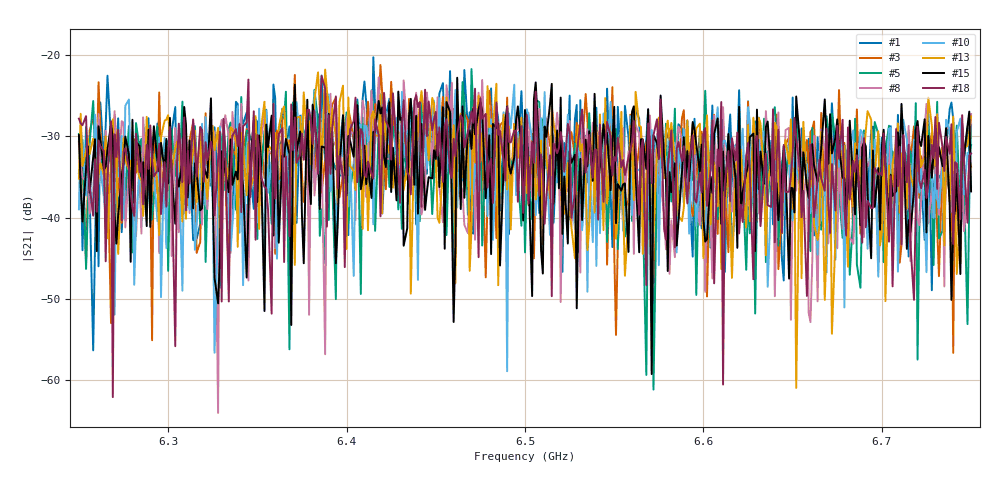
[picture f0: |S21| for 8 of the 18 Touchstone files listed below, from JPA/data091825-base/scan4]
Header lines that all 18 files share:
# Hz S RI R 50
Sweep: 6.25 GHz to 6.75 GHz
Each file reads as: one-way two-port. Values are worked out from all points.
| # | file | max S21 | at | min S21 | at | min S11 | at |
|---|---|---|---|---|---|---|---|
| 1 | trace80.s2p | -20.30 dB | 6.415 GHz | -56.3 dB | 6.258 GHz | -3.5 dB | 6.634 GHz |
| 2 | trace81.s2p | -20.34 dB | 6.44 GHz | -59.9 dB | 6.746 GHz | -4.5 dB | 6.488 GHz |
| 3 | trace82.s2p | -21.25 dB | 6.419 GHz | -56.6 dB | 6.74 GHz | -3.6 dB | 6.662 GHz |
| 4 | trace83.s2p | -23.46 dB | 6.386 GHz | -61.0 dB | 6.63 GHz | -3.8 dB | 6.652 GHz |
| 5 | trace84.s2p | -21.76 dB | 6.47 GHz | -61.1 dB | 6.572 GHz | -10.9 dB | 6.488 GHz |
| 6 | trace85.s2p | -22.09 dB | 6.449 GHz | -61.2 dB | 6.604 GHz | -6.6 dB | 6.488 GHz |
| 7 | trace86.s2p | -23.06 dB | 6.421 GHz | -54.4 dB | 6.581 GHz | -4.0 dB | 6.66 GHz |
| 8 | trace87.s2p | -22.76 dB | 6.418 GHz | -64.0 dB | 6.328 GHz | -14.6 dB | 6.488 GHz |
| 9 | trace88.s2p | -20.59 dB | 6.396 GHz | -65.9 dB | 6.592 GHz | -3.9 dB | 6.738 GHz |
| 10 | trace91.s2p | -23.68 dB | 6.494 GHz | -58.9 dB | 6.49 GHz | -3.1 dB | 6.684 GHz |
| 11 | trace92.s2p | -23.41 dB | 6.462 GHz | -59.1 dB | 6.285 GHz | -12.6 dB | 6.488 GHz |
| 12 | trace93.s2p | -23.29 dB | 6.399 GHz | -58.0 dB | 6.344 GHz | -3.5 dB | 6.648 GHz |
| 13 | trace94.s2p | -21.82 dB | 6.388 GHz | -60.9 dB | 6.652 GHz | -3.9 dB | 6.648 GHz |
| 14 | trace95.s2p | -21.09 dB | 6.446 GHz | -56.5 dB | 6.591 GHz | -3.7 dB | 6.655 GHz |
| 15 | trace96.s2p | -22.82 dB | 6.462 GHz | -59.2 dB | 6.571 GHz | -17.8 dB | 6.488 GHz |
| 16 | trace97.s2p | -22.53 dB | 6.501 GHz | -59.6 dB | 6.279 GHz | -3.6 dB | 6.661 GHz |
| 17 | trace98.s2p | -23.81 dB | 6.409 GHz | -58.6 dB | 6.37 GHz | -3.6 dB | 6.672 GHz |
| 18 | trace99.s2p | -22.60 dB | 6.386 GHz | -62.1 dB | 6.269 GHz | -3.5 dB | 6.652 GHz |
